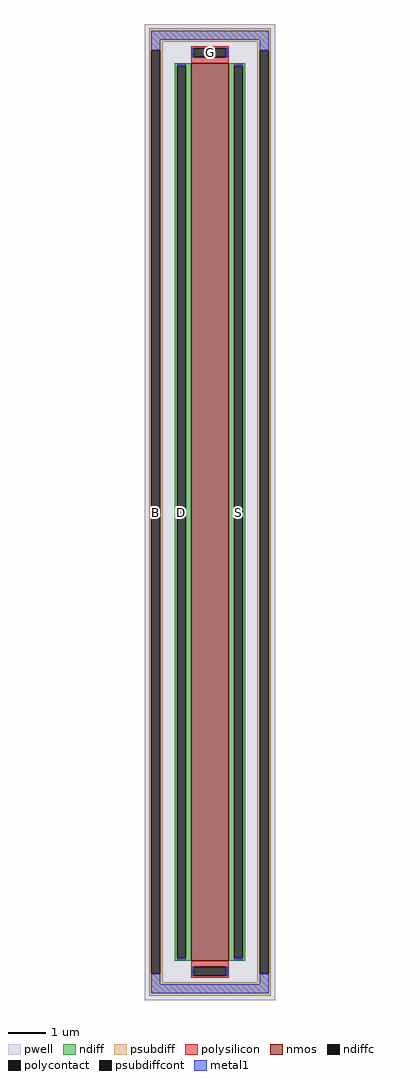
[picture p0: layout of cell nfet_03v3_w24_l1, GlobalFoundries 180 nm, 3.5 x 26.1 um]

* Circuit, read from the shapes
.subckt nfet_03v3_w24_l1 D S G B
XM1 S G D B nfet_03v3 w=24u l=1u
.ends

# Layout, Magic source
magic
tech gf180mcuD
magscale 1 10
<< pwell >>
rect -350 -2610 350 2610
<< nmos >>
rect -100 -2400 100 2400
<< ndiff >>
rect -188 2387 -100 2400
rect -188 -2387 -175 2387
rect -129 -2387 -100 2387
rect -188 -2400 -100 -2387
rect 100 2387 188 2400
rect 100 -2387 129 2387
rect 175 -2387 188 2387
rect 100 -2400 188 -2387
<< ndiffc >>
rect -175 -2387 -129 2387
rect 129 -2387 175 2387
<< psubdiff >>
rect -326 2514 326 2586
rect -326 2470 -254 2514
rect -326 -2470 -313 2470
rect -267 -2470 -254 2470
rect 254 2470 326 2514
rect -326 -2514 -254 -2470
rect 254 -2470 267 2470
rect 313 -2470 326 2470
rect 254 -2514 326 -2470
rect -326 -2586 326 -2514
<< psubdiffcont >>
rect -313 -2470 -267 2470
rect 267 -2470 313 2470
<< polysilicon >>
rect -100 2479 100 2492
rect -100 2433 -87 2479
rect 87 2433 100 2479
rect -100 2400 100 2433
rect -100 -2433 100 -2400
rect -100 -2479 -87 -2433
rect 87 -2479 100 -2433
rect -100 -2492 100 -2479
<< polycontact >>
rect -87 2433 87 2479
rect -87 -2479 87 -2433
<< metal1 >>
rect -313 2527 313 2573
rect -313 2470 -267 2527
rect -98 2433 -87 2479
rect 87 2433 98 2479
rect 267 2470 313 2527
rect -175 2387 -129 2398
rect -175 -2398 -129 -2387
rect 129 2387 175 2398
rect 129 -2398 175 -2387
rect -313 -2527 -267 -2470
rect -98 -2479 -87 -2433
rect 87 -2479 98 -2433
rect 267 -2527 313 -2470
rect -313 -2573 313 -2527
<< labels >>
rlabel ndiffc -152 0 -152 0 0 D
port 1 nsew
rlabel ndiffc 152 0 152 0 0 S
port 2 nsew
rlabel polycontact 0 2456 0 2456 0 G
port 3 nsew
rlabel psubdiffcont -290 0 -290 0 0 B
port 4 nsew
<< properties >>
string FIXED_BBOX -290 -2550 290 2550
<< end >>
